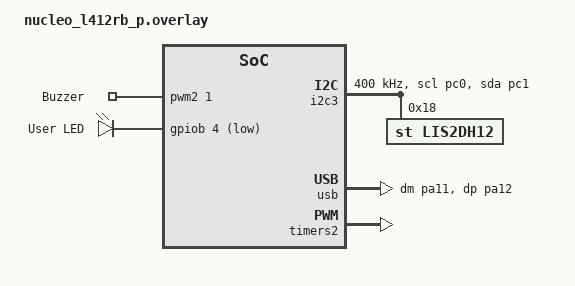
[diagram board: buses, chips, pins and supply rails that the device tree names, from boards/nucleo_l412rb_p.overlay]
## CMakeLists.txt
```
cmake_minimum_required(VERSION 3.20.0)

# Find Zephyr. This also loads Zephyr's build system.
find_package(Zephyr REQUIRED HINTS $ENV{ZEPHYR_BASE})
project(pulse)

# Add FPU flags
target_compile_options(app PRIVATE
    -mfpu=fpv4-sp-d16
    -mfloat-abi=hard
)

# Add library path and file
target_include_directories(app PRIVATE lib/nanoedge_ai)
target_link_directories(app PRIVATE ${CMAKE_SOURCE_DIR}/lib/nanoedge_ai)
target_link_libraries(app PRIVATE ${CMAKE_SOURCE_DIR}/lib/nanoedge_ai/libneai.a)

# Add include directories
target_include_directories(app PRIVATE 
    inc
    ${CMAKE_SOURCE_DIR}/lib/nanoedge_ai
)

# Add source files
target_sources(app PRIVATE 
    src/main.c
    src/accelerometer.c
)

# Add NanoEdgeAI memory mapping patch
zephyr_linker_sources(SECTIONS neai_overlay.ld)
```

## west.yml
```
manifest:
  remotes:
    - name: zephyrproject-rtos
      url-base: https://github.com/zephyrproject-rtos
  projects:
    - name: zephyr
      remote: zephyrproject-rtos
      revision: v4.1.0
      import: true
```

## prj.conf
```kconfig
# Enable logging
CONFIG_LOG=y
CONFIG_LOG_DEFAULT_LEVEL=3
CONFIG_LOG_MODE_DEFERRED=y

# Enable GPIO and I2C
CONFIG_GPIO=y
CONFIG_I2C=y
CONFIG_I2C_INIT_PRIORITY=50

# Enable sensor subsystem
CONFIG_SENSOR=y
CONFIG_SENSOR_INIT_PRIORITY=70
CONFIG_LIS2DH=y
CONFIG_LIS2DH_TRIGGER_NONE=y

# Enable serial
CONFIG_SERIAL=y

# Enable USB Device Stack
CONFIG_USB_DEVICE_STACK=y
CONFIG_USB_DEVICE_INITIALIZE_AT_BOOT=y
CONFIG_USB_DEVICE_PRODUCT="Pulse"
CONFIG_USB_DEVICE_MANUFACTURER="Kothari"
CONFIG_USB_DEVICE_VID=0x0483
CONFIG_USB_DEVICE_PID=0x5740

# Enable USB CDC ACM Class
CONFIG_USB_CDC_ACM=y

# Enable console for printk output
CONFIG_CONSOLE=y
CONFIG_UART_CONSOLE=y

# Enable Flash and NVS for persistent storage
CONFIG_FLASH=y
CONFIG_FLASH_MAP=y
CONFIG_NVS=y
CONFIG_MPU_ALLOW_FLASH_WRITE=y

# Enable CRC for data validation
CONFIG_CRC=y

# Enable kernel features
CONFIG_EVENTS=y

# Enable FPU
CONFIG_FPU=y
CONFIG_FPU_SHARING=y

CONFIG_CLOCK_CONTROL=y

CONFIG_MAIN_STACK_SIZE=2048
# Use newlib instead of the minimal libc
CONFIG_NEWLIB_LIBC=y

# 2. Configure the toolchain to use FPU
# Zephyr usually sets this automatically with CONFIG_FPU=y, but
# explicitly setting it ensures correctness if the toolchain defaults are wrong.
CONFIG_HEAP_MEM_POOL_SIZE=2048

CONFIG_FP_HARDABI=y
```

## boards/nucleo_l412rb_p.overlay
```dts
/ {
    aliases {
        accel0 = &lis2dh12;
        buzzer0 = &buzzer;
        led0 = &red_led;
    };

    chosen {
        zephyr,console = &cdc_acm_uart0;
        /* Optional: also route the shell to USB if desired */
        zephyr,shell-uart = &cdc_acm_uart0;
    };

    pwm_buzzer {
        compatible = "pwm-leds";
        status = "okay";

        buzzer: buzzer {
            pwms = <&pwm2 1 1000000 PWM_POLARITY_NORMAL>;  // PWM2 CH1, 1ms period
            label = "Buzzer";
        };
    };

    leds {
        red_led: led_1 {/*This led doesnt work*/
            gpios = <&gpiob 4 GPIO_ACTIVE_LOW>;
            label = "User LED";
        };
    };
    
};

/* Flash partition for NVS storage */
&flash0 {
    /* Delete board's default storage_partition to avoid conflicts */
    /delete-node/ partitions;
    
    partitions {
        compatible = "fixed-partitions";
        #address-cells = <1>;
        #size-cells = <1>;

        /* 
         * STM32L412 has 128KB flash (0x00000 - 0x1FFFF)
         * Reserve last 48KB for NVS storage (10 samples + overhead)
         * Application gets first 80KB
         */
        
        /* Bootloader/application partition: 0x00000 - 0x13FFF (80KB) */
        slot0_partition: partition@0 {
            label = "image-0";
            reg = <0x00000000 0x00014000>;  /* 80KB */
        };

        /* Storage partition: 0x14000 - 0x1FFFF (48KB, 2KB-aligned) */
        storage_partition: partition@14000 {
            label = "storage";
            reg = <0x00014000 0x0000c000>;  /* 0x1FFFF - 0x14000 + 1 = 0xC000 (47,104 bytes) */
        };
    };
};

&i2c3 { 
    status = "okay";
    clock-frequency = <I2C_BITRATE_FAST>;
    pinctrl-0 = <&i2c3_scl_pc0 &i2c3_sda_pc1>;  // PC0 and PC1
    pinctrl-names = "default";

    lis2dh12: lis2dh12@18 {
        compatible = "st,lis2dh12", "st,lis2dh";
        reg = <0x18>;
        status = "okay";
        /*irq-gpios = <&gpioa 10 GPIO_ACTIVE_HIGH>;*/
    };
};

/* Enable the USB controller on the STM32L412 */
&usb {
    status = "okay";
    pinctrl-0 = < &usb_dm_pa11 &usb_dp_pa12 >;
    pinctrl-names = "default";

    /* Declare a USB CDC ACM node for logs/console */
    cdc_acm_uart0: cdc_acm_uart0 {
        compatible = "zephyr,cdc-acm-uart";
        label = "CDC_ACM_0";
        /* Some boards require "status = okay;" but typically it's implied */
    };
};

/* Enable the HSI48 clock that USB FS needs */
&clk_hsi48 {
    status = "okay";
};

&gpiob {
    status = "okay";
};

&timers2 {
    status = "okay";

    pwm2: pwm {
        status = "okay";
        pinctrl-0 = <&tim2_ch1_pa15>;
        pinctrl-names = "default";
    };
};
```

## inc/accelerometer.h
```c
/*
MIT License

Copyright (c) 2026 Ayush Kothari

Permission is hereby granted, free of charge, to any person obtaining a copy
of this software and associated documentation files (the "Software"), to deal
in the Software without restriction, including without limitation the rights
to use, copy, modify, merge, publish, distribute, sublicense, and/or sell
copies of the Software, and to permit persons to whom the Software is
furnished to do so, subject to the following conditions:

The above copyright notice and this permission notice shall be included in all
copies or substantial portions of the Software.

THE SOFTWARE IS PROVIDED "AS IS", WITHOUT WARRANTY OF ANY KIND, EXPRESS OR
IMPLIED, INCLUDING BUT NOT LIMITED TO THE WARRANTIES OF MERCHANTABILITY,
FITNESS FOR A PARTICULAR PURPOSE AND NONINFRINGEMENT. IN NO EVENT SHALL THE
AUTHORS OR COPYRIGHT HOLDERS BE LIABLE FOR ANY CLAIM, DAMAGES OR OTHER
LIABILITY, WHETHER IN AN ACTION OF CONTRACT, TORT OR OTHERWISE, ARISING FROM,
OUT OF OR IN CONNECTION WITH THE SOFTWARE OR THE USE OR OTHER DEALINGS IN THE
SOFTWARE.
*/

#ifndef ACCELEROMETER_H
#define ACCELEROMETER_H

#include <zephyr/kernel.h>
#include "NanoEdgeAI.h"

// NanoEdge AI expects DATA_INPUT_USER samples, with AXIS_NUMBER values per sample
// For interleaved format: 256 samples × 3 axes = 768 total values
// But our accel_data struct stores each axis separately, so we need 256 samples per axis
#define ACCEL_BUFFER_SIZE (DATA_INPUT_USER)

struct accel_data {
    float x[ACCEL_BUFFER_SIZE];  // 256 samples for X axis
    float y[ACCEL_BUFFER_SIZE];  // 256 samples for Y axis
    float z[ACCEL_BUFFER_SIZE];  // 256 samples for Z axis
    uint16_t samples;  // Current number of samples in buffer (should be 256 when full)
};

struct accel_config {
    uint16_t sample_rate_hz;
    void (*data_ready_cb)(const struct accel_data *buffer);
};

int accelerometer_init(const struct accel_config *config);
void accelerometer_start(void);
void accelerometer_stop(void);

#endif /* ACCELEROMETER_H */
```

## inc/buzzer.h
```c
/*
MIT License

Copyright (c) 2026 Ayush Kothari

Permission is hereby granted, free of charge, to any person obtaining a copy
of this software and associated documentation files (the "Software"), to deal
in the Software without restriction, including without limitation the rights
to use, copy, modify, merge, publish, distribute, sublicense, and/or sell
copies of the Software, and to permit persons to whom the Software is
furnished to do so, subject to the following conditions:

The above copyright notice and this permission notice shall be included in all
copies or substantial portions of the Software.

THE SOFTWARE IS PROVIDED "AS IS", WITHOUT WARRANTY OF ANY KIND, EXPRESS OR
IMPLIED, INCLUDING BUT NOT LIMITED TO THE WARRANTIES OF MERCHANTABILITY,
FITNESS FOR A PARTICULAR PURPOSE AND NONINFRINGEMENT. IN NO EVENT SHALL THE
AUTHORS OR COPYRIGHT HOLDERS BE LIABLE FOR ANY CLAIM, DAMAGES OR OTHER
LIABILITY, WHETHER IN AN ACTION OF CONTRACT, TORT OR OTHERWISE, ARISING FROM,
OUT OF OR IN CONNECTION WITH THE SOFTWARE OR THE USE OR OTHER DEALINGS IN THE
SOFTWARE.
*/

#ifndef BUZZER_H
#define BUZZER_H

#include <zephyr/kernel.h>

int buzzer_init(void);
int buzzer_set_frequency(uint32_t freq_hz);
void buzzer_stop(void);

#endif /* BUZZER_H */
```

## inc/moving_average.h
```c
/*
MIT License

Copyright (c) 2026 Ayush Kothari

Permission is hereby granted, free of charge, to any person obtaining a copy
of this software and associated documentation files (the "Software"), to deal
in the Software without restriction, including without limitation the rights
to use, copy, modify, merge, publish, distribute, sublicense, and/or sell
copies of the Software, and to permit persons to whom the Software is
furnished to do so, subject to the following conditions:

The above copyright notice and this permission notice shall be included in all
copies or substantial portions of the Software.

THE SOFTWARE IS PROVIDED "AS IS", WITHOUT WARRANTY OF ANY KIND, EXPRESS OR
IMPLIED, INCLUDING BUT NOT LIMITED TO THE WARRANTIES OF MERCHANTABILITY,
FITNESS FOR A PARTICULAR PURPOSE AND NONINFRINGEMENT. IN NO EVENT SHALL THE
AUTHORS OR COPYRIGHT HOLDERS BE LIABLE FOR ANY CLAIM, DAMAGES OR OTHER
LIABILITY, WHETHER IN AN ACTION OF CONTRACT, TORT OR OTHERWISE, ARISING FROM,
OUT OF OR IN CONNECTION WITH THE SOFTWARE OR THE USE OR OTHER DEALINGS IN THE
SOFTWARE.
*/

#ifndef MOVING_AVERAGE_H
#define MOVING_AVERAGE_H

#include <stdint.h>
#include <stdbool.h>

#define MA_WINDOW_SIZE 15u

struct moving_average {
    uint8_t buffer[MA_WINDOW_SIZE];
    uint32_t sum;
    uint8_t index;
    bool is_filled;
};

void moving_average_init(struct moving_average *ma);
float moving_average_update(struct moving_average *ma, uint8_t new_value);
float moving_average_get(const struct moving_average *ma);

#endif /* MOVING_AVERAGE_H */
```

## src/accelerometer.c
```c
/*
MIT License

Copyright (c) 2026 Ayush Kothari

Permission is hereby granted, free of charge, to any person obtaining a copy
of this software and associated documentation files (the "Software"), to deal
in the Software without restriction, including without limitation the rights
to use, copy, modify, merge, publish, distribute, sublicense, and/or sell
copies of the Software, and to permit persons to whom the Software is
furnished to do so, subject to the following conditions:

The above copyright notice and this permission notice shall be included in all
copies or substantial portions of the Software.

THE SOFTWARE IS PROVIDED "AS IS", WITHOUT WARRANTY OF ANY KIND, EXPRESS OR
IMPLIED, INCLUDING BUT NOT LIMITED TO THE WARRANTIES OF MERCHANTABILITY,
FITNESS FOR A PARTICULAR PURPOSE AND NONINFRINGEMENT. IN NO EVENT SHALL THE
AUTHORS OR COPYRIGHT HOLDERS BE LIABLE FOR ANY CLAIM, DAMAGES OR OTHER
LIABILITY, WHETHER IN AN ACTION OF CONTRACT, TORT OR OTHERWISE, ARISING FROM,
OUT OF OR IN CONNECTION WITH THE SOFTWARE OR THE USE OR OTHER DEALINGS IN THE
SOFTWARE.
*/

#include "accelerometer.h"
#include <zephyr/kernel.h>
#include <zephyr/drivers/i2c.h>
#include <zephyr/logging/log.h>
#include <zephyr/drivers/sensor.h>

LOG_MODULE_REGISTER(accel, CONFIG_LOG_DEFAULT_LEVEL);

#define ACCEL_STACK_SIZE 1024
#define ACCEL_PRIORITY 5

static const struct device *i2c_dev;
static struct accel_config driver_config;
static struct accel_data buffer_storage[2];  // Static buffer allocation
static struct accel_data *active_buffer;      // Currently being filled
static struct accel_data *process_buffer;     // Being processed
static uint16_t buffer_index;
static atomic_t running;
K_MUTEX_DEFINE(buffer_mutex);  // Single declaration using Zephyr macro

K_THREAD_STACK_DEFINE(accel_stack, ACCEL_STACK_SIZE);
static struct k_thread accel_thread_data;

/**
 * @brief Swaps the active and process buffers.
 * @warning This function is not thread-safe and must be called from within a locked context.
 */
static void swap_buffers_unsafe(void)
{
    struct accel_data *temp = active_buffer;
    active_buffer = process_buffer;
    process_buffer = temp;
}

static int read_lis2dh12_data(struct accel_data *data)
{
    struct sensor_value accel[3];
    int ret;

    ret = sensor_sample_fetch(i2c_dev);
    if (ret < 0) {
        return ret;
    }

    ret = sensor_channel_get(i2c_dev, SENSOR_CHAN_ACCEL_XYZ, accel);
    if (ret < 0) {
        return ret;
    }

    data->x[buffer_index] = sensor_value_to_float(&accel[0]);
    data->y[buffer_index] = sensor_value_to_float(&accel[1]);
    data->z[buffer_index] = sensor_value_to_float(&accel[2]);

    return 0;
}

static void accel_thread(void *p1, void *p2, void *p3)
{
    bool buffer_is_full = false;

    while (1) {
        if (atomic_get(&running)) {
            // Lock the mutex to safely access shared resources
            k_mutex_lock(&buffer_mutex, K_FOREVER);

            if (0 == read_lis2dh12_data(active_buffer)) {
                buffer_index++;
            }

            // Check if the buffer is full
            if (buffer_index >= ACCEL_BUFFER_SIZE) {
                active_buffer->samples = buffer_index;
                swap_buffers_unsafe(); // Swap buffers while still locked
                buffer_index = 0;
                buffer_is_full = true;
            }

            // Always unlock the mutex after the critical section
            k_mutex_unlock(&buffer_mutex);

            // If a buffer was filled, call the callback AFTER releasing the lock
            if (buffer_is_full) {
                driver_config.data_ready_cb(process_buffer);
                buffer_is_full = false;
            }

            // Calculate delay between samples
            // Use K_USEC for better precision, especially at high sample rates
            uint32_t delay_us = 1000000 / driver_config.sample_rate_hz;
            if (delay_us >= 1000) {
                // If delay is >= 1ms, use millisecond sleep
                k_msleep(delay_us / 1000);
            } else {
                // For high sample rates (>1000 Hz), use microsecond sleep
                k_usleep(delay_us);
            }
        } else {
            k_sleep(K_MSEC(100));
        }
    }
}


int accelerometer_init(const struct accel_config *config)
{
    if (!config || !config->data_ready_cb) {
        LOG_ERR("Invalid config or callback");
        return -EINVAL;
    }

    LOG_INF("Getting accelerometer device...");
    i2c_dev = DEVICE_DT_GET(DT_ALIAS(accel0));
    
    if (i2c_dev == NULL) {
        LOG_ERR("Accelerometer device is NULL - check device tree");
        return -ENODEV;
    }
    
    LOG_INF("Accelerometer device: %s", i2c_dev->name);
    
    if (!device_is_ready(i2c_dev)) {
        LOG_ERR("Accelerometer device not ready: %s", i2c_dev->name);
        return -ENODEV;
    }

    driver_config = *config;
    
    // Initialize static buffers
    active_buffer = &buffer_storage[0];
    process_buffer = &buffer_storage[1];
    buffer_index = 0;
    atomic_set(&running, false);

    k_thread_create(&accel_thread_data, accel_stack,
                    K_THREAD_STACK_SIZEOF(accel_stack),
                    accel_thread,
                    NULL, NULL, NULL,
                    K_PRIO_PREEMPT(10), 0, K_NO_WAIT);

    LOG_INF("LIS2DH12 accelerometer initialized");
    return 0;
}

void accelerometer_start(void)
{
    atomic_set(&running, true);
}

void accelerometer_stop(void)
{
    atomic_set(&running, false);
}
```

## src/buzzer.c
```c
/*
MIT License

Copyright (c) 2026 Ayush Kothari

Permission is hereby granted, free of charge, to any person obtaining a copy
of this software and associated documentation files (the "Software"), to deal
in the Software without restriction, including without limitation the rights
to use, copy, modify, merge, publish, distribute, sublicense, and/or sell
copies of the Software, and to permit persons to whom the Software is
furnished to do so, subject to the following conditions:

The above copyright notice and this permission notice shall be included in all
copies or substantial portions of the Software.

THE SOFTWARE IS PROVIDED "AS IS", WITHOUT WARRANTY OF ANY KIND, EXPRESS OR
IMPLIED, INCLUDING BUT NOT LIMITED TO THE WARRANTIES OF MERCHANTABILITY,
FITNESS FOR A PARTICULAR PURPOSE AND NONINFRINGEMENT. IN NO EVENT SHALL THE
AUTHORS OR COPYRIGHT HOLDERS BE LIABLE FOR ANY CLAIM, DAMAGES OR OTHER
LIABILITY, WHETHER IN AN ACTION OF CONTRACT, TORT OR OTHERWISE, ARISING FROM,
OUT OF OR IN CONNECTION WITH THE SOFTWARE OR THE USE OR OTHER DEALINGS IN THE
SOFTWARE.
*/

#include "buzzer.h"
#include <zephyr/drivers/pwm.h>
#include <zephyr/logging/log.h>

LOG_MODULE_REGISTER(buzzer, CONFIG_LOG_DEFAULT_LEVEL);

#define BUZZER_NODE DT_ALIAS(buzzer0)

static const struct pwm_dt_spec buzzer = PWM_DT_SPEC_GET(BUZZER_NODE);
static uint32_t period_ns;

int buzzer_init(void)
{
    if (!device_is_ready(buzzer.dev)) {
        LOG_ERR("PWM device not ready");
        return -ENODEV;
    }

    LOG_INF("Buzzer initialized");
    return 0;
}

int buzzer_set_frequency(uint32_t freq_hz)
{
    if (freq_hz == 0) {
        buzzer_stop();
        return 0;
    }

    // Calculate period in nanoseconds
    period_ns = (uint32_t)(1000000000 / freq_hz);
    
    // Set 30% duty cycle
    uint32_t pulse_ns = (period_ns * 3) / 100;

    return pwm_set_dt(&buzzer, period_ns, pulse_ns);
}

void buzzer_stop(void)
{
    pwm_set_dt(&buzzer, 0, 0);
}
```

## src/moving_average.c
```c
/*
MIT License

Copyright (c) 2026 Ayush Kothari

Permission is hereby granted, free of charge, to any person obtaining a copy
of this software and associated documentation files (the "Software"), to deal
in the Software without restriction, including without limitation the rights
to use, copy, modify, merge, publish, distribute, sublicense, and/or sell
copies of the Software, and to permit persons to whom the Software is
furnished to do so, subject to the following conditions:

The above copyright notice and this permission notice shall be included in all
copies or substantial portions of the Software.

THE SOFTWARE IS PROVIDED "AS IS", WITHOUT WARRANTY OF ANY KIND, EXPRESS OR
IMPLIED, INCLUDING BUT NOT LIMITED TO THE WARRANTIES OF MERCHANTABILITY,
FITNESS FOR A PARTICULAR PURPOSE AND NONINFRINGEMENT. IN NO EVENT SHALL THE
AUTHORS OR COPYRIGHT HOLDERS BE LIABLE FOR ANY CLAIM, DAMAGES OR OTHER
LIABILITY, WHETHER IN AN ACTION OF CONTRACT, TORT OR OTHERWISE, ARISING FROM,
OUT OF OR IN CONNECTION WITH THE SOFTWARE OR THE USE OR OTHER DEALINGS IN THE
SOFTWARE.
*/

#include "moving_average.h"

void moving_average_init(struct moving_average *ma)
{
    ma->sum = 0;
    ma->index = 0;
    ma->is_filled = false;
    
    for (int i = 0; i < MA_WINDOW_SIZE; i++) {
        ma->buffer[i] = 0;
    }
}

float moving_average_update(struct moving_average *ma, uint8_t new_value)
{
    // Subtract the oldest value from sum
    ma->sum -= ma->buffer[ma->index];
    
    // Add new value
    ma->buffer[ma->index] = new_value;
    ma->sum += new_value;
    
    // Update index
    ma->index = (ma->index + 1) % MA_WINDOW_SIZE;
    
    // Check if buffer is filled
    if (ma->index == 0) {
        ma->is_filled = true;
    }
    
    return moving_average_get(ma);
}

float moving_average_get(const struct moving_average *ma)
{
    uint8_t divisor = ma->is_filled ? MA_WINDOW_SIZE : ma->index;
    if (divisor == 0) {
        return 0.0f;
    }
    return (float)ma->sum / divisor;
}
```
